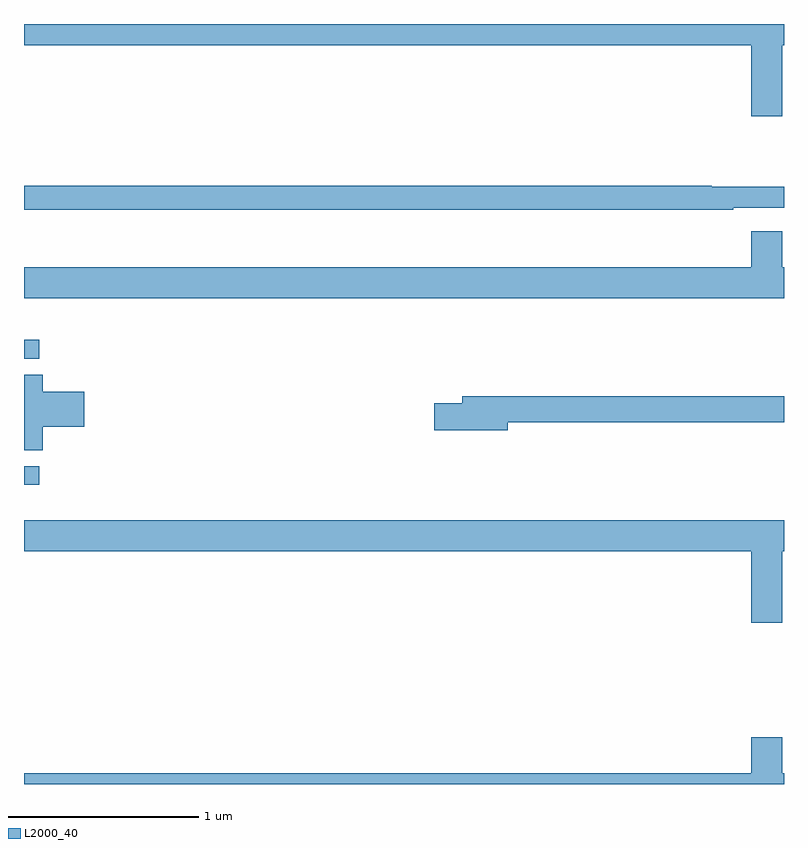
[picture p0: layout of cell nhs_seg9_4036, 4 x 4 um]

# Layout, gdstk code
import gdstk
lib = gdstk.Library(unit=1e-6, precision=1e-09)
def R(c, l, rs):  # rectangles x0, y0, x1, y1
    for r in rs: c.add(gdstk.rectangle(r[:2], r[2:], *l))
def P(c, l, *ps):  # polygons
    for p in ps: c.add(gdstk.Polygon(p, *l))
L2000_40 = (2000, 40)

nhs_seg9_4036 = lib.new_cell('nhs_seg9_4036')
R(nhs_seg9_4036, L2000_40, [(341,1226.076,341.08,1226.172), (341,1226.739,341.08,1226.838)])
P(nhs_seg9_4036, L2000_40, [(344.992,1228.388),(345,1228.388),(345,1228.5),(341,1228.5),(341,1228.388),(344.828,1228.388),(344.828,1228.014),(344.992,1228.014)],
  [(344.732,1227.534),(345,1227.534),(345,1227.643),(344.62,1227.643),(344.62,1227.65),(341,1227.65),(341,1227.522),(344.732,1227.522)],
  [(345,1227.22),(344.992,1227.22),(344.992,1227.409),(344.828,1227.409),(344.828,1227.22),(341,1227.22),(341,1227.056),(345,1227.056)],
  [(341.099,1226.381),(341.317,1226.381),(341.317,1226.564),(341.099,1226.564),(341.099,1226.654),(341,1226.654),(341,1226.257),(341.099,1226.257)],
  [(343.546,1226.404),(345,1226.404),(345,1226.54),(343.307,1226.54),(343.307,1226.504),(343.158,1226.504),(343.158,1226.362),(343.546,1226.362)],
  [(344.992,1225.724),(345,1225.724),(345,1225.888),(341,1225.888),(341,1225.724),(344.828,1225.724),(344.828,1225.35),(344.992,1225.35)],
  [(345,1224.556),(344.992,1224.556),(344.992,1224.745),(344.828,1224.745),(344.828,1224.556),(341,1224.556),(341,1224.5),(345,1224.5)])

lib.write_gds('nhs_seg9_4036.gds')
